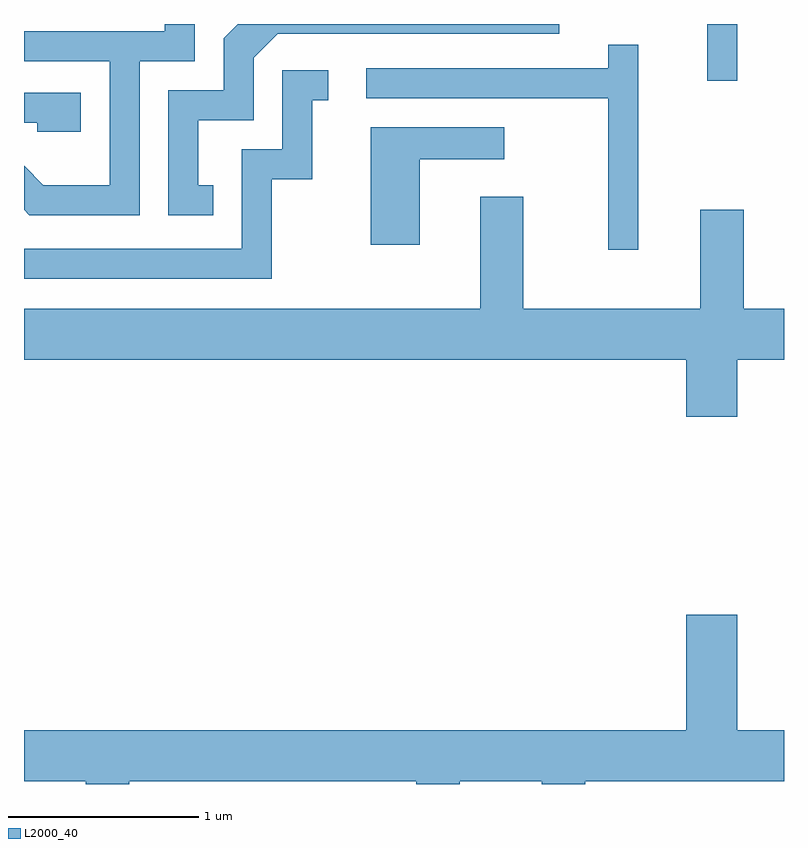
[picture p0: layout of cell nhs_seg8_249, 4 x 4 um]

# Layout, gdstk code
import gdstk
lib = gdstk.Library(unit=1e-6, precision=1e-09)
def R(c, l, rs):  # rectangles x0, y0, x1, y1
    for r in rs: c.add(gdstk.rectangle(r[:2], r[2:], *l))
def P(c, l, *ps):  # polygons
    for p in ps: c.add(gdstk.Polygon(p, *l))
L2000_40 = (2000, 40)

nhs_seg8_249 = lib.new_cell('nhs_seg8_249')
R(nhs_seg8_249, L2000_40, [(195.206,1900.043,195.364,1900.342)])
P(nhs_seg8_249, L2000_40, [(192.219,1900.146),(192.509,1900.146),(192.509,1900.342),(192.351,1900.342),(192.351,1900.304),(191.611,1900.304),(191.611,1900.146),(192.061,1900.146),(192.061,1899.494),(191.712,1899.494),(191.611,1899.595),(191.611,1899.364),(191.639,1899.336),(192.219,1899.336)],
  [(192.608,1899.494),(192.529,1899.494),(192.529,1899.836),(192.819,1899.836),(192.819,1900.164),(192.947,1900.291),(194.429,1900.291),(194.429,1900.342),(192.736,1900.342),(192.661,1900.267),(192.661,1899.994),(192.371,1899.994),(192.371,1899.336),(192.608,1899.336)],
  [(194.844,1900.233),(194.686,1900.233),(194.686,1900.109),(193.413,1900.109),(193.413,1899.951),(194.686,1899.951),(194.686,1899.153),(194.844,1899.153)],
  [(192.914,1899.526),(193.129,1899.526),(193.129,1899.941),(193.213,1899.941),(193.213,1900.099),(192.971,1900.099),(192.971,1899.684),(192.756,1899.684),(192.756,1899.159),(191.611,1899.159),(191.611,1899.001),(192.914,1899.001)],
  [(191.909,1899.979),(191.611,1899.979),(191.611,1899.821),(191.681,1899.821),(191.681,1899.776),(191.909,1899.776)],
  [(193.694,1899.631),(194.138,1899.631),(194.138,1899.799),(193.436,1899.799),(193.436,1899.181),(193.694,1899.181)],
  [(195.364,1898.576),(195.611,1898.576),(195.611,1898.844),(195.399,1898.844),(195.399,1899.364),(195.171,1899.364),(195.171,1898.844),(194.239,1898.844),(194.239,1899.434),(194.011,1899.434),(194.011,1898.844),(191.611,1898.844),(191.611,1898.576),(195.096,1898.576),(195.096,1898.276),(195.364,1898.276)],
  [(192.164,1896.356),(193.676,1896.356),(193.676,1896.342),(193.904,1896.342),(193.904,1896.356),(194.336,1896.356),(194.336,1896.342),(194.564,1896.342),(194.564,1896.356),(195.611,1896.356),(195.611,1896.624),(195.364,1896.624),(195.364,1897.234),(195.096,1897.234),(195.096,1896.624),(191.611,1896.624),(191.611,1896.356),(191.936,1896.356),(191.936,1896.342),(192.164,1896.342)])

lib.write_gds('nhs_seg8_249.gds')
